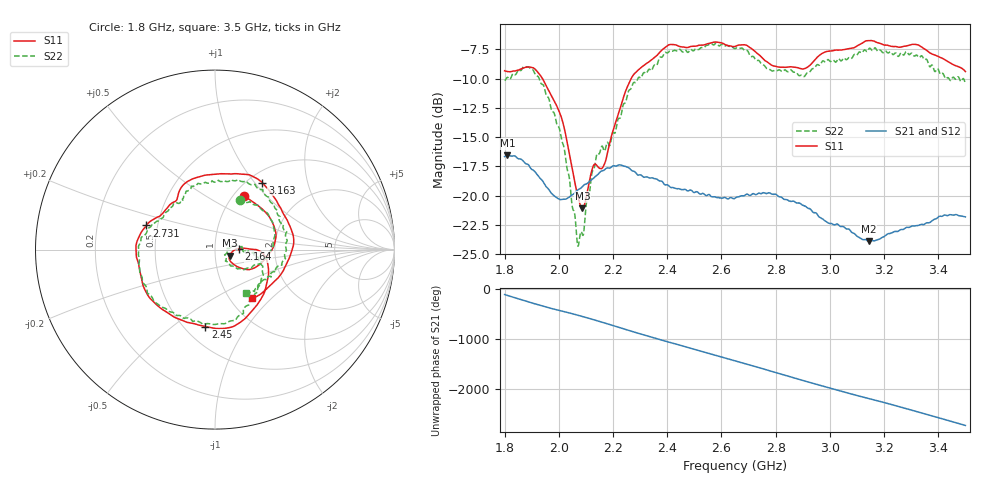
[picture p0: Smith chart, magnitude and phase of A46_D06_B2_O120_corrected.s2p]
! Created with skrf 1.9.0 (http://scikit-rf.org).
# Hz S RI R 50.0
!freq ReS11 ImS11 ReS21 ImS21 ReS12 ImS12 ReS22 ImS22
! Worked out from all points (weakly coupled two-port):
!   1601 points, 1.8 GHz to 3.5 GHz, reference 50 ohm
!   highest |S21| = -16.57 dB at 1.811 GHz (marker M1); lowest = -23.9 dB at 3.143 GHz (marker M2)
!   lowest |S11| = -21.1 dB at 2.087 GHz (marker M3), VSWR 1.19, Z = 58.8 - j3.94 ohm
!   |S11| at or under -10 dB: 1.94 GHz to 2.267 GHz (327.4 MHz wide, 15.6 % of centre)
!   |S22| runs from -24.3 to -7.0 dB; largest |S21 - S12| = 0.0025
!   S11 on the Smith chart (normalised r, x): 1.8 GHz: 1.12, +0.76; 2.164 GHz: 1.31, +0.01; 2.45 GHz: 0.63, -0.66; 2.731 GHz: 0.43, +0.14; 3.163 GHz: 1.16, +1.09; 3.5 GHz: 1.27, -0.77
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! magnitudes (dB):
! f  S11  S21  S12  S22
! 1.8 GHz  -9.3  -16.7  -16.7  -10.2
! 1.811 GHz  -9.4  -16.6  -16.6  -9.9
! 1.882 GHz  -9.0  -17.3  -17.3  -9.0
! 1.942 GHz  -10.1  -18.8  -18.8  -10.5
! 2.011 GHz  -13.5  -20.3  -20.3  -15.3
! 2.068 GHz  -19.8  -19.6  -19.6  -24.0
! 2.084 GHz  -21.0  -19.3  -19.3  -23.1
! 2.087 GHz  -21.1  -19.2  -19.2  -23.3
! 2.129 GHz  -17.4  -18.5  -18.5  -17.7
! 2.164 GHz  -17.5  -17.9  -17.8  -16.0
! 2.263 GHz  -10.2  -17.7  -17.7  -10.9
! 2.367 GHz  -7.9  -18.7  -18.6  -8.5
! 2.45 GHz  -7.3  -19.5  -19.5  -7.6
! 2.65 GHz  -7.3  -20.2  -20.2  -7.4
! 2.731 GHz  -7.8  -19.9  -19.9  -8.5
! 2.808 GHz  -9.0  -20.0  -20.0  -9.3
! 2.934 GHz  -8.7  -21.3  -21.3  -9.2
! 3.143 GHz  -6.8  -23.9  -23.8  -7.5
! 3.163 GHz  -6.8  -23.9  -23.8  -7.4
! 3.217 GHz  -7.2  -23.2  -23.2  -7.8
! 3.324 GHz  -7.1  -22.6  -22.5  -8.1
! 3.5 GHz  -9.4  -21.8  -21.8  -10.4
